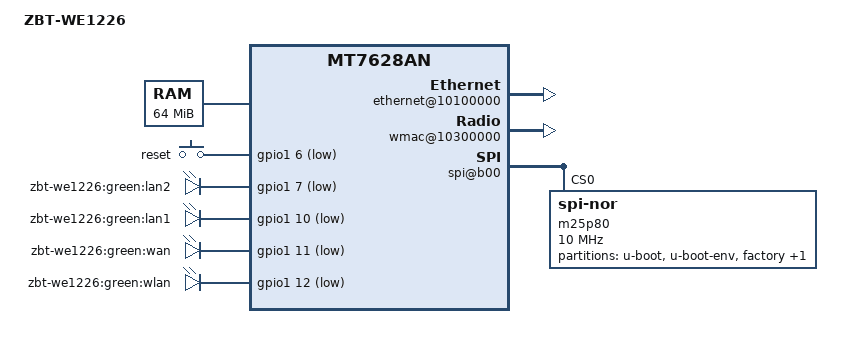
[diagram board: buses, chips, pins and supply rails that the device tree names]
/dts-v1/;

/include/ "mt7628an.dtsi"

/ {
	compatible = "zbtlink,zbt-we1226", "mediatek,mt7628an-soc";
	model = "ZBT-WE1226";

	chosen {
		bootargs = "console=ttyS0,115200";
	};

	memory@0 {
		device_type = "memory";
		reg = <0x0 0x4000000>;
	};

	pinctrl {
		state_default: pinctrl0 {
			gpio {
				ralink,group = "gpio";
				ralink,function = "gpio";
			};
		};
	};

	gpio-keys-polled {
		compatible = "gpio-keys-polled";
		#address-cells = <1>;
		#size-cells = <0>;
		poll-interval = <20>;

		reset {
			label = "reset";
			gpios = <&gpio1 6 1>;
			linux,code = <0x198>;
		};
	};

	gpio-leds {
		compatible = "gpio-leds";

		lan2 {
			label = "zbt-we1226:green:lan2";
			gpios = <&gpio1 7 1>;
		};

		lan1 {
			label = "zbt-we1226:green:lan1";
			gpios = <&gpio1 10 1>;
		};

		wan {
			label = "zbt-we1226:green:wan";
			gpios = <&gpio1 11 1>;
		};

		wlan {
			label = "zbt-we1226:green:wlan";
			gpios = <&gpio1 12 1>;
		};
	};

	ethernet@10100000 {
		status = "okay";
		mtd-mac-address = <&factory 0x2e>;
		mediatek,portmap = "llllw";
	};

	esw@10110000 {
		status = "okay";
		ralink,portmap = <0x2f>;
	};

	wmac@10300000 {
		status = "okay";
		ralink,mtd-eeprom = <&factory 0x4>;
	};

	palmbus@10000000 {
		spi@b00 {
			status = "okay";

			m25p80@0 {
				#address-cells = <1>;
				#size-cells = <1>;
				compatible = "jedec,spi-nor";
				reg = <0 0>;
				linux,modalias = "m25p80";
				spi-max-frequency = <10000000>;
				m25p,chunked-io = <32>;

				partition@0 {
					label = "u-boot";
					reg = <0x0 0x30000>;
					read-only;
				};

				partition@30000 {
					label = "u-boot-env";
					reg = <0x30000 0x10000>;
					read-only;
				};

				factory: partition@40000 {
					label = "factory";
					reg = <0x40000 0x10000>;
					read-only;
				};

				partition@50000 {
					label = "firmware";
					reg = <0x50000 0x7b0000>;
				};
			};
		};
	};
};
